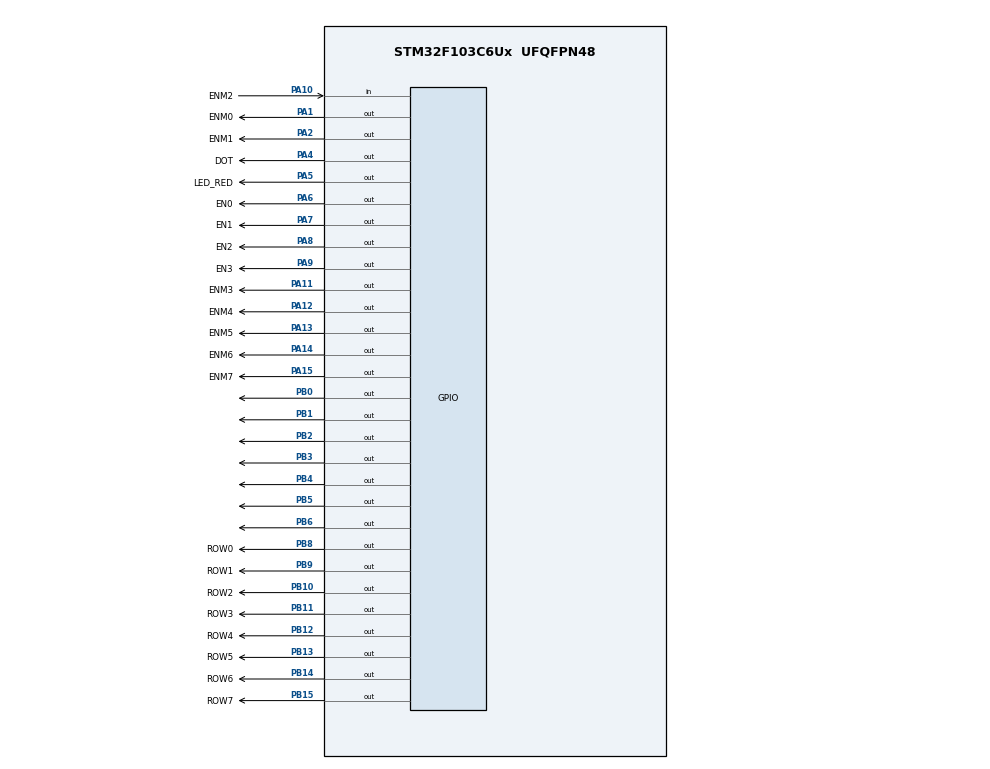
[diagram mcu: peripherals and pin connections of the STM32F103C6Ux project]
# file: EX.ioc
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Mcu.Family=STM32F1
Mcu.Name=STM32F103C6Ux
Mcu.Package=UFQFPN48
NVIC.PriorityGroup=NVIC_PRIORITYGROUP_4
NVIC.TIM2_IRQn=true\:0\:0\:false\:false\:true\:true\:true
PA1.GPIO_Label=ENM0
PA1.Signal=GPIO_Output
PA10.GPIO_Label=ENM2
PA10.Signal=GPIO_Input
PA11.GPIO_Label=ENM3
PA11.Signal=GPIO_Output
PA12.GPIO_Label=ENM4
PA12.Signal=GPIO_Output
PA13.GPIO_Label=ENM5
PA13.Signal=GPIO_Output
PA14.GPIO_Label=ENM6
PA14.Signal=GPIO_Output
PA15.GPIO_Label=ENM7
PA15.Signal=GPIO_Output
PA2.GPIO_Label=ENM1
PA2.Signal=GPIO_Output
PA4.GPIO_Label=DOT
PA4.Signal=GPIO_Output
PA5.GPIO_Label=LED_RED
PA5.Signal=GPIO_Output
PA6.GPIO_Label=EN0
PA6.Signal=GPIO_Output
PA7.GPIO_Label=EN1
PA7.Signal=GPIO_Output
PA8.GPIO_Label=EN2
PA8.Signal=GPIO_Output
PA9.GPIO_Label=EN3
PA9.Signal=GPIO_Output
PB0.Signal=GPIO_Output
PB1.Signal=GPIO_Output
PB10.GPIO_Label=ROW2
PB10.Signal=GPIO_Output
PB11.GPIO_Label=ROW3
PB11.Signal=GPIO_Output
PB12.GPIO_Label=ROW4
PB12.Signal=GPIO_Output
PB13.GPIO_Label=ROW5
PB13.Signal=GPIO_Output
PB14.GPIO_Label=ROW6
PB14.Signal=GPIO_Output
PB15.GPIO_Label=ROW7
PB15.Signal=GPIO_Output
PB2.Signal=GPIO_Output
PB3.Signal=GPIO_Output
PB4.Signal=GPIO_Output
PB5.Signal=GPIO_Output
PB6.Signal=GPIO_Output
PB8.GPIO_Label=ROW0
PB8.Signal=GPIO_Output
PB9.GPIO_Label=ROW1
PB9.Signal=GPIO_Output
ProjectManager.HeapSize=0x200
ProjectManager.StackSize=0x400
ProjectManager.TargetToolchain=STM32CubeIDE
RCC.APB1Freq_Value=8000000
RCC.APB2Freq_Value=8000000
TIM2.Period=9
TIM2.Prescaler=7999
VP_SYS_VS_ND.Mode=No_Debug
VP_TIM2_VS_ClockSourceINT.Mode=Internal
board=custom

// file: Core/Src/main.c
/* USER CODE BEGIN Header */
/**
  ******************************************************************************
  * @file           : main.c
  * @brief          : Main program body
  ******************************************************************************
  * @attention
  *
  * <h2><center>&copy; Copyright (c) 2023 STMicroelectronics.
  * All rights reserved.</center></h2>
  *
  * This software component is licensed by ST under BSD 3-Clause license,
  * the "License"; You may not use this file except in compliance with the
  * License. You may obtain a copy of the License at:
  *                        opensource.org/licenses/BSD-3-Clause
  *
  ******************************************************************************
  */
/* USER CODE END Header */
#include "main.h"

TIM_HandleTypeDef htim2;

void SystemClock_Config(void);
static void MX_GPIO_Init(void);
static void MX_TIM2_Init(void);

/* USER CODE BEGIN 0 */
int hour = 15 , minute = 8 , second = 50;
int timer0_counter = 0;
int timer0_flag = 0;
int timer1_counter = 0;
int timer1_flag = 0;
int timer2_counter = 0;
int timer2_flag = 0;
int timer3_counter = 0;
int timer3_flag = 0;
int TIMER_CYCLE	= 10;

void setTimer0(int duration){
	timer0_counter = duration  / TIMER_CYCLE;
	timer0_flag = 0;
}
void setTimer1(int duration){
	timer1_counter = duration  / TIMER_CYCLE;
	timer1_flag = 0;
}
void setTimer2(int duration){
	timer2_counter = duration  / TIMER_CYCLE;
	timer2_flag = 0;
}
void setTimer3(int duration){
	timer3_counter = duration  / TIMER_CYCLE;
	timer3_flag = 0;
}
void timerRun(){
	if(timer0_counter > 0){
		timer0_counter--;
		if(timer0_counter == 0) timer0_flag = 1;
	}
	if(timer1_counter > 0){
		timer1_counter--;
		if(timer1_counter == 0) timer1_flag = 1;
	}
	if(timer2_counter > 0){
		timer2_counter--;
		if(timer2_counter == 0) timer2_flag = 1;
	}
	if(timer3_counter > 0){
		timer3_counter--;
		if(timer3_counter == 0) timer3_flag = 1;
	}
}

void display(GPIO_PinState a, GPIO_PinState b, GPIO_PinState c,
		GPIO_PinState d, GPIO_PinState e, GPIO_PinState f,GPIO_PinState g) {
        HAL_GPIO_WritePin(GPIOB, GPIO_PIN_0, a);
        HAL_GPIO_WritePin(GPIOB, GPIO_PIN_1, b);
        HAL_GPIO_WritePin(GPIOB, GPIO_PIN_2, c);
        HAL_GPIO_WritePin(GPIOB, GPIO_PIN_3, d);
        HAL_GPIO_WritePin(GPIOB, GPIO_PIN_4, e);
        HAL_GPIO_WritePin(GPIOB, GPIO_PIN_5, f);
        HAL_GPIO_WritePin(GPIOB, GPIO_PIN_6, g);
  }

void display7SEG(int state){
    switch (state) {
        case 0:
            display(0, 0, 0, 0, 0, 0, 1);
            break;
        case 1:
            display(1, 0, 0, 1, 1, 1, 1);
            break;
        case 2:
            display(0, 0, 1, 0, 0, 1, 0);
            break;
        case 3:
            display(0, 0, 0, 0, 1, 1, 0);
            break;
        case 4:
            display(1, 0, 0, 1, 1, 0, 0);
            break;
        case 5:
            display(0, 1, 0, 0, 1, 0, 0);
            break;
        case 6:
            display(0, 1, 0, 0, 0, 0, 0);
            break;
        case 7:
            display(0, 0, 0, 1, 1, 1, 1);
            break;
        case 8:
            display(0, 0, 0, 0, 0, 0, 0);
            break;
        case 9:
            display(0, 0, 0, 0, 1, 0, 0);
            break;
        default:
            display(1, 1, 1, 1, 1, 1, 1);
        }
}

const int MAX_LED = 4;
int index_led = 0;
int led_buffer [4] = {1 , 2 , 3 , 4};
void update7SEG ( int index ) {
    switch ( index ) {
        case 0:
            //Display the first 7 SEG with led_buffer [0]
			HAL_GPIO_WritePin(EN0_GPIO_Port, EN0_Pin, 0);
			HAL_GPIO_WritePin(EN1_GPIO_Port, EN1_Pin, 1);
			HAL_GPIO_WritePin(EN2_GPIO_Port, EN2_Pin, 1);
			HAL_GPIO_WritePin(EN3_GPIO_Port, EN3_Pin, 1);
			display7SEG(led_buffer[index]);
            break ;
        case 1:
            // Display the second 7 SEG with led_buffer [1]
			HAL_GPIO_WritePin(EN0_GPIO_Port, EN0_Pin, 1);
			HAL_GPIO_WritePin(EN1_GPIO_Port, EN1_Pin, 0);
			HAL_GPIO_WritePin(EN2_GPIO_Port, EN2_Pin, 1);
			HAL_GPIO_WritePin(EN3_GPIO_Port, EN3_Pin, 1);
			display7SEG(led_buffer[index]);
        	break ;
        case 2:
            // Display the third 7 SEG with led_buffer [2]
			HAL_GPIO_WritePin(EN0_GPIO_Port, EN0_Pin, 1);
			HAL_GPIO_WritePin(EN1_GPIO_Port, EN1_Pin, 1);
			HAL_GPIO_WritePin(EN2_GPIO_Port, EN2_Pin, 0);
			HAL_GPIO_WritePin(EN3_GPIO_Port, EN3_Pin, 1);
			display7SEG(led_buffer[index]);
        	break ;
        case 3:
            // Display the forth 7 SEG with led_buffer [3]
			HAL_GPIO_WritePin(EN0_GPIO_Port, EN0_Pin, 1);
			HAL_GPIO_WritePin(EN1_GPIO_Port, EN1_Pin, 1);
			HAL_GPIO_WritePin(EN2_GPIO_Port, EN2_Pin, 1);
			HAL_GPIO_WritePin(EN3_GPIO_Port, EN3_Pin, 0);
			display7SEG(led_buffer[index]);
            break ;
        default :
            break ;}
}

void updateClockBuffer (){
	led_buffer[0] = hour / 10;
	led_buffer[1] = hour - 10 * ( hour / 10) ;
	led_buffer[2] = minute / 10;
	led_buffer[3] = minute - 10 * (minute / 10);
 }

void displayLedMatrix(int row, uint8_t col){
	if(row == 0) { // enable row 0
		HAL_GPIO_WritePin(ROW0_GPIO_Port, ROW0_Pin, RESET);
		HAL_GPIO_WritePin(ROW1_GPIO_Port, ROW1_Pin, SET);
		HAL_GPIO_WritePin(ROW2_GPIO_Port, ROW2_Pin, SET);
		HAL_GPIO_WritePin(ROW3_GPIO_Port, ROW3_Pin, SET);
		HAL_GPIO_WritePin(ROW4_GPIO_Port, ROW4_Pin, SET);
		HAL_GPIO_WritePin(ROW5_GPIO_Port, ROW5_Pin, SET);
		HAL_GPIO_WritePin(ROW6_GPIO_Port, ROW6_Pin, SET);
		HAL_GPIO_WritePin(ROW7_GPIO_Port, ROW7_Pin, SET);

		HAL_GPIO_WritePin(ENM7_GPIO_Port, ENM7_Pin, 1 - (col & 1));
		//lay gia tri cua bit nho nhat bang cach and voi 1
		col = col >> 1;
		//shift sang phai de lay gia tri cua bit tiep theo
		HAL_GPIO_WritePin(ENM6_GPIO_Port, ENM6_Pin, 1 - (col & 1));
		col = col >> 1;
		HAL_GPIO_WritePin(ENM5_GPIO_Port, ENM5_Pin, 1 - (col & 1));
		col = col >> 1;
		HAL_GPIO_WritePin(ENM4_GPIO_Port, ENM4_Pin, 1 - (col & 1));
		col = col >> 1;
		HAL_GPIO_WritePin(ENM3_GPIO_Port, ENM3_Pin, 1 - (col & 1));
		col = col >> 1;
		HAL_GPIO_WritePin(ENM2_GPIO_Port, ENM2_Pin, 1 - (col & 1));
		col = col >> 1;
		HAL_GPIO_WritePin(ENM1_GPIO_Port, ENM1_Pin, 1 - (col & 1));
		col = col >> 1;
		HAL_GPIO_WritePin(ENM0_GPIO_Port, ENM0_Pin,  1 - (col & 1));
	}
	if(row == 1) { // enable row 1
			HAL_GPIO_WritePin(ROW0_GPIO_Port, ROW0_Pin, SET);
			HAL_GPIO_WritePin(ROW1_GPIO_Port, ROW1_Pin, RESET);
			HAL_GPIO_WritePin(ROW2_GPIO_Port, ROW2_Pin, SET);
			HAL_GPIO_WritePin(ROW3_GPIO_Port, ROW3_Pin, SET);
			HAL_GPIO_WritePin(ROW4_GPIO_Port, ROW4_Pin, SET);
			HAL_GPIO_WritePin(ROW5_GPIO_Port, ROW5_Pin, SET);
			HAL_GPIO_WritePin(ROW6_GPIO_Port, ROW6_Pin, SET);
			HAL_GPIO_WritePin(ROW7_GPIO_Port, ROW7_Pin, SET);

			HAL_GPIO_WritePin(ENM7_GPIO_Port, ENM7_Pin, 1 - (col & 1));
			col = col >> 1;
			HAL_GPIO_WritePin(ENM6_GPIO_Port, ENM6_Pin, 1 - (col & 1));
			col = col >> 1;
			HAL_GPIO_WritePin(ENM5_GPIO_Port, ENM5_Pin, 1 - (col & 1));
			col = col >> 1;
			HAL_GPIO_WritePin(ENM4_GPIO_Port, ENM4_Pin, 1 - (col & 1));
			col = col >> 1;
			HAL_GPIO_WritePin(ENM3_GPIO_Port, ENM3_Pin, 1 - (col & 1));
			col = col >> 1;
			HAL_GPIO_WritePin(ENM2_GPIO_Port, ENM2_Pin, 1 - (col & 1));
			col = col >> 1;
			HAL_GPIO_WritePin(ENM1_GPIO_Port, ENM1_Pin, 1 - (col & 1));
			col = col >> 1;
			HAL_GPIO_WritePin(ENM0_GPIO_Port, ENM0_Pin, 1 - (col & 1));
		}
	if(row == 1) { // enable row 2
			HAL_GPIO_WritePin(ROW0_GPIO_Port, ROW0_Pin, SET);
			HAL_GPIO_WritePin(ROW1_GPIO_Port, ROW1_Pin, SET);
			HAL_GPIO_WritePin(ROW2_GPIO_Port, ROW2_Pin, RESET);
			HAL_GPIO_WritePin(ROW3_GPIO_Port, ROW3_Pin, SET);
			HAL_GPIO_WritePin(ROW4_GPIO_Port, ROW4_Pin, SET);
			HAL_GPIO_WritePin(ROW5_GPIO_Port, ROW5_Pin, SET);
			HAL_GPIO_WritePin(ROW6_GPIO_Port, ROW6_Pin, SET);
			HAL_GPIO_WritePin(ROW7_GPIO_Port, ROW7_Pin, SET);

			HAL_GPIO_WritePin(ENM7_GPIO_Port, ENM7_Pin, 1 - (col & 1));
			col = col >> 1;
			HAL_GPIO_WritePin(ENM6_GPIO_Port, ENM6_Pin, 1 - (col & 1));
			col = col >> 1;
			HAL_GPIO_WritePin(ENM5_GPIO_Port, ENM5_Pin, 1 - (col & 1));
			col = col >> 1;
			HAL_GPIO_WritePin(ENM4_GPIO_Port, ENM4_Pin, 1 - (col & 1));
			col = col >> 1;
			HAL_GPIO_WritePin(ENM3_GPIO_Port, ENM3_Pin, 1 - (col & 1));
			col = col >> 1;
			HAL_GPIO_WritePin(ENM2_GPIO_Port, ENM2_Pin, 1 - (col & 1));
			col = col >> 1;
			HAL_GPIO_WritePin(ENM1_GPIO_Port, ENM1_Pin, 1 - (col & 1));
			col = col >> 1;
			HAL_GPIO_WritePin(ENM0_GPIO_Port, ENM0_Pin,  1 - (col & 1));
		}
	if(row == 3) { // enable row 3
			HAL_GPIO_WritePin(ROW0_GPIO_Port, ROW0_Pin, SET);
			HAL_GPIO_WritePin(ROW1_GPIO_Port, ROW1_Pin, SET);
			HAL_GPIO_WritePin(ROW2_GPIO_Port, ROW2_Pin, SET);
			HAL_GPIO_WritePin(ROW3_GPIO_Port, ROW3_Pin, RESET);
			HAL_GPIO_WritePin(ROW4_GPIO_Port, ROW4_Pin, SET);
			HAL_GPIO_WritePin(ROW5_GPIO_Port, ROW5_Pin, SET);
			HAL_GPIO_WritePin(ROW6_GPIO_Port, ROW6_Pin, SET);
			HAL_GPIO_WritePin(ROW7_GPIO_Port, ROW7_Pin, SET);

			HAL_GPIO_WritePin(ENM7_GPIO_Port, ENM7_Pin, 1 - (col & 1));
			col = col >> 1;
			HAL_GPIO_WritePin(ENM6_GPIO_Port, ENM6_Pin, 1 - (col & 1));
			col = col >> 1;
			HAL_GPIO_WritePin(ENM5_GPIO_Port, ENM5_Pin, 1 - (col & 1));
			col = col >> 1;
			HAL_GPIO_WritePin(ENM4_GPIO_Port, ENM4_Pin, 1 - (col & 1));
			col = col >> 1;
			HAL_GPIO_WritePin(ENM3_GPIO_Port, ENM3_Pin, 1 - (col & 1));
			col = col >> 1;
			HAL_GPIO_WritePin(ENM2_GPIO_Port, ENM2_Pin, 1 - (col & 1));
			col = col >> 1;
			HAL_GPIO_WritePin(ENM1_GPIO_Port, ENM1_Pin, 1 - (col & 1));
			col = col >> 1;
			HAL_GPIO_WritePin(ENM0_GPIO_Port, ENM0_Pin,  1 - (col & 1));
		}
	if(row == 4) { // enable row 4
			HAL_GPIO_WritePin(ROW0_GPIO_Port, ROW0_Pin, SET);
			HAL_GPIO_WritePin(ROW1_GPIO_Port, ROW1_Pin, SET);
			HAL_GPIO_WritePin(ROW2_GPIO_Port, ROW2_Pin, SET);
			HAL_GPIO_WritePin(ROW3_GPIO_Port, ROW3_Pin, SET);
			HAL_GPIO_WritePin(ROW4_GPIO_Port, ROW4_Pin, RESET);
			HAL_GPIO_WritePin(ROW5_GPIO_Port, ROW5_Pin, SET);
			HAL_GPIO_WritePin(ROW6_GPIO_Port, ROW6_Pin, SET);
			HAL_GPIO_WritePin(ROW7_GPIO_Port, ROW7_Pin, SET);

			HAL_GPIO_WritePin(ENM7_GPIO_Port, ENM7_Pin, 1 - (col & 1));
			col = col >> 1;
			HAL_GPIO_WritePin(ENM6_GPIO_Port, ENM6_Pin, 1 - (col & 1));
			col = col >> 1;
			HAL_GPIO_WritePin(ENM5_GPIO_Port, ENM5_Pin, 1 - (col & 1));
			col = col >> 1;
			HAL_GPIO_WritePin(ENM4_GPIO_Port, ENM4_Pin, 1 - (col & 1));
			col = col >> 1;
			HAL_GPIO_WritePin(ENM3_GPIO_Port, ENM3_Pin, 1 - (col & 1));
			col = col >> 1;
			HAL_GPIO_WritePin(ENM2_GPIO_Port, ENM2_Pin, 1 - (col & 1));
			col = col >> 1;
			HAL_GPIO_WritePin(ENM1_GPIO_Port, ENM1_Pin, 1 - (col & 1));
			col = col >> 1;
			HAL_GPIO_WritePin(ENM0_GPIO_Port, ENM0_Pin,  1 - (col & 1));
		}
	if(row == 5) { // enable row 5
			HAL_GPIO_WritePin(ROW0_GPIO_Port, ROW0_Pin, SET);
			HAL_GPIO_WritePin(ROW1_GPIO_Port, ROW1_Pin, SET);
			HAL_GPIO_WritePin(ROW2_GPIO_Port, ROW2_Pin, SET);
			HAL_GPIO_WritePin(ROW3_GPIO_Port, ROW3_Pin, SET);
			HAL_GPIO_WritePin(ROW4_GPIO_Port, ROW4_Pin, SET);
			HAL_GPIO_WritePin(ROW5_GPIO_Port, ROW5_Pin, RESET);
			HAL_GPIO_WritePin(ROW6_GPIO_Port, ROW6_Pin, SET);
			HAL_GPIO_WritePin(ROW7_GPIO_Port, ROW7_Pin, SET);

			HAL_GPIO_WritePin(ENM7_GPIO_Port, ENM7_Pin, 1 - (col & 1));
			col = col >> 1;
			HAL_GPIO_WritePin(ENM6_GPIO_Port, ENM6_Pin, 1 - (col & 1));
			col = col >> 1;
			HAL_GPIO_WritePin(ENM5_GPIO_Port, ENM5_Pin, 1 - (col & 1));
			col = col >> 1;
			HAL_GPIO_WritePin(ENM4_GPIO_Port, ENM4_Pin, 1 - (col & 1));
			col = col >> 1;
			HAL_GPIO_WritePin(ENM3_GPIO_Port, ENM3_Pin, 1 - (col & 1));
			col = col >> 1;
			HAL_GPIO_WritePin(ENM2_GPIO_Port, ENM2_Pin, 1 - (col & 1));
			col = col >> 1;
			HAL_GPIO_WritePin(ENM1_GPIO_Port, ENM1_Pin, 1 - (col & 1));
			col = col >> 1;
			HAL_GPIO_WritePin(ENM0_GPIO_Port, ENM0_Pin,  1 - (col & 1));
		}
	if(row == 6) { // enable row 6
			HAL_GPIO_WritePin(ROW0_GPIO_Port, ROW0_Pin, SET);
			HAL_GPIO_WritePin(ROW1_GPIO_Port, ROW1_Pin, SET);
			HAL_GPIO_WritePin(ROW2_GPIO_Port, ROW2_Pin, SET);
			HAL_GPIO_WritePin(ROW3_GPIO_Port, ROW3_Pin, SET);
			HAL_GPIO_WritePin(ROW4_GPIO_Port, ROW4_Pin, SET);
			HAL_GPIO_WritePin(ROW5_GPIO_Port, ROW5_Pin, SET);
			HAL_GPIO_WritePin(ROW6_GPIO_Port, ROW6_Pin, RESET);
			HAL_GPIO_WritePin(ROW7_GPIO_Port, ROW7_Pin, SET);

			HAL_GPIO_WritePin(ENM7_GPIO_Port, ENM7_Pin, 1 - (col & 1));
			col = col >> 1;
			HAL_GPIO_WritePin(ENM6_GPIO_Port, ENM6_Pin, 1 - (col & 1));
			col = col >> 1;
			HAL_GPIO_WritePin(ENM5_GPIO_Port, ENM5_Pin, 1 - (col & 1));
			col = col >> 1;
			HAL_GPIO_WritePin(ENM4_GPIO_Port, ENM4_Pin, 1 - (col & 1));
			col = col >> 1;
			HAL_GPIO_WritePin(ENM3_GPIO_Port, ENM3_Pin, 1 - (col & 1));
			col = col >> 1;
			HAL_GPIO_WritePin(ENM2_GPIO_Port, ENM2_Pin, 1 - (col & 1));
			col = col >> 1;
			HAL_GPIO_WritePin(ENM1_GPIO_Port, ENM1_Pin, 1 - (col & 1));
			col = col >> 1;
			HAL_GPIO_WritePin(ENM0_GPIO_Port, ENM0_Pin,  1 - (col & 1));
		}
	if(row == 7) { // enable row 7
			HAL_GPIO_WritePin(ROW0_GPIO_Port, ROW0_Pin, SET);
			HAL_GPIO_WritePin(ROW1_GPIO_Port, ROW1_Pin, SET);
			HAL_GPIO_WritePin(ROW2_GPIO_Port, ROW2_Pin, SET);
			HAL_GPIO_WritePin(ROW3_GPIO_Port, ROW3_Pin, SET);
			HAL_GPIO_WritePin(ROW4_GPIO_Port, ROW4_Pin, SET);
			HAL_GPIO_WritePin(ROW5_GPIO_Port, ROW5_Pin, SET);
			HAL_GPIO_WritePin(ROW6_GPIO_Port, ROW6_Pin, SET);
			HAL_GPIO_WritePin(ROW7_GPIO_Port, ROW7_Pin, RESET);

			HAL_GPIO_WritePin(ENM7_GPIO_Port, ENM7_Pin, 1 - (col & 1));
			col = col >> 1;
			HAL_GPIO_WritePin(ENM6_GPIO_Port, ENM6_Pin, 1 - (col & 1));
			col = col >> 1;
			HAL_GPIO_WritePin(ENM5_GPIO_Port, ENM5_Pin, 1 - (col & 1));
			col = col >> 1;
			HAL_GPIO_WritePin(ENM4_GPIO_Port, ENM4_Pin, 1 - (col & 1));
			col = col >> 1;
			HAL_GPIO_WritePin(ENM3_GPIO_Port, ENM3_Pin, 1 - (col & 1));
			col = col >> 1;
			HAL_GPIO_WritePin(ENM2_GPIO_Port, ENM2_Pin, 1 - (col & 1));
			col = col >> 1;
			HAL_GPIO_WritePin(ENM1_GPIO_Port, ENM1_Pin, 1 - (col & 1));
			col = col >> 1;
			HAL_GPIO_WritePin(ENM0_GPIO_Port, ENM0_Pin,  1 - (col & 1));
		}

}

int MAX_LED_MATRIX = 8;
int index_led_matrix = 0;
uint8_t matrix_buffer[8] = {0x18,0x24,0x42,0x42,0x7e,0x42,0x42,0x42};
/*moi phan tu cua ma tran dai dien cho 1 row. VD: 0x18 doi ra nhi phan la 00011000 la row dau tien cua chu 'A', neu ket hop tat ca lai se thanh chu 'A'*/
void updateLedMatrix(int index) {
	switch(index) {
	case 0:// display row 0 of led matrix
		displayLedMatrix(0, matrix_buffer [index]);
		break;
	case 1:// display row 1 of led matrix
		displayLedMatrix(1, matrix_buffer[1]);
		break;
	case 2:// display row 2 of led matrix
		displayLedMatrix(2, matrix_buffer[2]);
		break;
	case 3:// display row 3 of led matrix
		displayLedMatrix(3, matrix_buffer[3]);
		break;
	case 4:// display row 4 of led matrix
		displayLedMatrix(4, matrix_buffer[4]);
		break;
	case 5:// display row 5 of led matrix
		displayLedMatrix(5, matrix_buffer[5]);
		break;
	case 6:// display row 6 of led matrix
		displayLedMatrix(6, matrix_buffer[6]);
		break;
	case 7:// display row 7 of led matrix
		displayLedMatrix(7, matrix_buffer[7]);
		break;
	default:
		break;
	}

}

void updateMatrix_buffer(){
	    matrix_buffer[0] = (matrix_buffer[0] << 1|matrix_buffer[0] >> 7);
		matrix_buffer[1] = (matrix_buffer[1] << 1|matrix_buffer[1] >> 7);
		matrix_buffer[2] = (matrix_buffer[2] << 1|matrix_buffer[2] >> 7);
		matrix_buffer[3] = (matrix_buffer[3] << 1|matrix_buffer[3] >> 7);
		matrix_buffer[4] = (matrix_buffer[4] << 1|matrix_buffer[4] >> 7);
		matrix_buffer[5] = (matrix_buffer[5] << 1|matrix_buffer[5] >> 7);
		matrix_buffer[6] = (matrix_buffer[6] << 1|matrix_buffer[6] >> 7);
		matrix_buffer[7] = (matrix_buffer[7] << 1|matrix_buffer[7] >> 7);
}
/* USER CODE END 0 */

int main(void)
{

  /* MCU Configuration--------------------------------------------------------*/

  /* Reset of all peripherals, Initializes the Flash interface and the Systick. */
  HAL_Init();

  /* Configure the system clock */
  SystemClock_Config();

  /* Initialize all configured peripherals */
  MX_GPIO_Init();
  MX_TIM2_Init();
  /* USER CODE BEGIN 2 */
  HAL_TIM_Base_Start_IT (& htim2 ) ;
  /* USER CODE END 2 */

  /* Infinite loop */
  /* USER CODE BEGIN WHILE */

  	//Set timer for 7ledSeg
    setTimer0(100);
    //Set timer for DOT
    setTimer1(100);
    //Set timer for led matrix
    setTimer2(100);
    setTimer3(800);
    int index_led = 0;
    while (1)
    {
    	if(timer0_flag==1){
    	  		  setTimer0(1000);
    	  		  second++;
    	  		  if ( second >= 60) {
    	  			  second = 0;
    	  			  minute ++;
    	  		  }
    	  		  if( minute >= 60) {
    	  			  minute = 0;
    	  			  hour ++;
    	  		  }
    	  		  if( hour >=24) {
    	  			  hour = 0;
    	  		  }
    	  		  updateClockBuffer();
    	  		  update7SEG(index_led);
    	  		  index_led++;
    	  		  if(index_led >= 4) index_led = 0;
    	  }
    	  if(timer1_flag == 1){
    		  	  setTimer1(1000);
    		  	  HAL_GPIO_TogglePin(DOT_GPIO_Port, DOT_Pin);
    		  	  HAL_GPIO_TogglePin(LED_RED_GPIO_Port, LED_RED_Pin);
    	  }
    	  if(timer2_flag == 1){
    		  	  setTimer2(100);
    		  	  updateLedMatrix(index_led_matrix);
    		  	  index_led_matrix ++;
    		  	  if(index_led_matrix == MAX_LED_MATRIX) index_led_matrix = 0;
    	  }
    	  if(timer3_flag == 1 )// control animation led matrix
    	  {
    	  		    updateMatrix_buffer();
    	  			setTimer3(800);
    	  }
    }
      /* USER CODE END WHILE */

}

void SystemClock_Config(void)
{
  RCC_OscInitTypeDef RCC_OscInitStruct = {0};
  RCC_ClkInitTypeDef RCC_ClkInitStruct = {0};

  /** Initializes the RCC Oscillators according to the specified parameters
  * in the RCC_OscInitTypeDef structure.
  */
  RCC_OscInitStruct.OscillatorType = RCC_OSCILLATORTYPE_HSI;
  RCC_OscInitStruct.HSIState = RCC_HSI_ON;
  RCC_OscInitStruct.HSICalibrationValue = RCC_HSICALIBRATION_DEFAULT;
  RCC_OscInitStruct.PLL.PLLState = RCC_PLL_NONE;
  if (HAL_RCC_OscConfig(&RCC_OscInitStruct) != HAL_OK)
  {
    Error_Handler();
  }
  /** Initializes the CPU, AHB and APB buses clocks
  */
  RCC_ClkInitStruct.ClockType = RCC_CLOCKTYPE_HCLK|RCC_CLOCKTYPE_SYSCLK
                              |RCC_CLOCKTYPE_PCLK1|RCC_CLOCKTYPE_PCLK2;
  RCC_ClkInitStruct.SYSCLKSource = RCC_SYSCLKSOURCE_HSI;
  RCC_ClkInitStruct.AHBCLKDivider = RCC_SYSCLK_DIV1;
  RCC_ClkInitStruct.APB1CLKDivider = RCC_HCLK_DIV1;
  RCC_ClkInitStruct.APB2CLKDivider = RCC_HCLK_DIV1;

  if (HAL_RCC_ClockConfig(&RCC_ClkInitStruct, FLASH_LATENCY_0) != HAL_OK)
  {
    Error_Handler();
  }
}

static void MX_TIM2_Init(void)
{

  TIM_ClockConfigTypeDef sClockSourceConfig = {0};
  TIM_MasterConfigTypeDef sMasterConfig = {0};

  htim2.Instance = TIM2;
  htim2.Init.Prescaler = 7999;
  htim2.Init.CounterMode = TIM_COUNTERMODE_UP;
  htim2.Init.Period = 9;
  htim2.Init.ClockDivision = TIM_CLOCKDIVISION_DIV1;
  htim2.Init.AutoReloadPreload = TIM_AUTORELOAD_PRELOAD_DISABLE;
  if (HAL_TIM_Base_Init(&htim2) != HAL_OK)
  {
    Error_Handler();
  }
  sClockSourceConfig.ClockSource = TIM_CLOCKSOURCE_INTERNAL;
  if (HAL_TIM_ConfigClockSource(&htim2, &sClockSourceConfig) != HAL_OK)
  {
    Error_Handler();
  }
  sMasterConfig.MasterOutputTrigger = TIM_TRGO_RESET;
  sMasterConfig.MasterSlaveMode = TIM_MASTERSLAVEMODE_DISABLE;
  if (HAL_TIMEx_MasterConfigSynchronization(&htim2, &sMasterConfig) != HAL_OK)
  {
    Error_Handler();
  }

}

static void MX_GPIO_Init(void)
{
  GPIO_InitTypeDef GPIO_InitStruct = {0};

  /* GPIO Ports Clock Enable */
  __HAL_RCC_GPIOA_CLK_ENABLE();
  __HAL_RCC_GPIOB_CLK_ENABLE();

  /*Configure GPIO pin Output Level */
  HAL_GPIO_WritePin(GPIOA, ENM0_Pin|ENM1_Pin|DOT_Pin|LED_RED_Pin
                          |EN0_Pin|EN1_Pin|EN2_Pin|EN3_Pin
                          |ENM3_Pin|ENM4_Pin|ENM5_Pin|ENM6_Pin
                          |ENM7_Pin, GPIO_PIN_RESET);

  /*Configure GPIO pin Output Level */
  HAL_GPIO_WritePin(GPIOB, GPIO_PIN_0|GPIO_PIN_1|GPIO_PIN_2|ROW2_Pin
                          |ROW3_Pin|ROW4_Pin|ROW5_Pin|ROW6_Pin
                          |ROW7_Pin|GPIO_PIN_3|GPIO_PIN_4|GPIO_PIN_5
                          |GPIO_PIN_6|ROW0_Pin|ROW1_Pin, GPIO_PIN_RESET);

  /*Configure GPIO pins : ENM0_Pin ENM1_Pin DOT_Pin LED_RED_Pin
                           EN0_Pin EN1_Pin EN2_Pin EN3_Pin
                           ENM3_Pin ENM4_Pin ENM5_Pin ENM6_Pin
                           ENM7_Pin */
  GPIO_InitStruct.Pin = ENM0_Pin|ENM1_Pin|DOT_Pin|LED_RED_Pin
                          |EN0_Pin|EN1_Pin|EN2_Pin|EN3_Pin
                          |ENM3_Pin|ENM4_Pin|ENM5_Pin|ENM6_Pin
                          |ENM7_Pin;
  GPIO_InitStruct.Mode = GPIO_MODE_OUTPUT_PP;
  GPIO_InitStruct.Pull = GPIO_NOPULL;
  GPIO_InitStruct.Speed = GPIO_SPEED_FREQ_LOW;
  HAL_GPIO_Init(GPIOA, &GPIO_InitStruct);

  /*Configure GPIO pins : PB0 PB1 PB2 ROW2_Pin
                           ROW3_Pin ROW4_Pin ROW5_Pin ROW6_Pin
                           ROW7_Pin PB3 PB4 PB5
                           PB6 ROW0_Pin ROW1_Pin */
  GPIO_InitStruct.Pin = GPIO_PIN_0|GPIO_PIN_1|GPIO_PIN_2|ROW2_Pin
                          |ROW3_Pin|ROW4_Pin|ROW5_Pin|ROW6_Pin
                          |ROW7_Pin|GPIO_PIN_3|GPIO_PIN_4|GPIO_PIN_5
                          |GPIO_PIN_6|ROW0_Pin|ROW1_Pin;
  GPIO_InitStruct.Mode = GPIO_MODE_OUTPUT_PP;
  GPIO_InitStruct.Pull = GPIO_NOPULL;
  GPIO_InitStruct.Speed = GPIO_SPEED_FREQ_LOW;
  HAL_GPIO_Init(GPIOB, &GPIO_InitStruct);

//  /*Configure GPIO pin : ENM2_Pin */
//  GPIO_InitStruct.Pin = ENM2_Pin;
//  GPIO_InitStruct.Mode = GPIO_MODE_INPUT;
//  GPIO_InitStruct.Pull = GPIO_NOPULL;
//  HAL_GPIO_Init(ENM2_GPIO_Port, &GPIO_InitStruct);

}

/* USER CODE BEGIN 4 */

void HAL_TIM_PeriodElapsedCallback ( TIM_HandleTypeDef * htim ){
	timerRun();

}
/* USER CODE END 4 */

void Error_Handler(void)
{
  __disable_irq();
  while (1)
  {
  }
}

/************************ (C) COPYRIGHT STMicroelectronics *****END OF FILE****/
